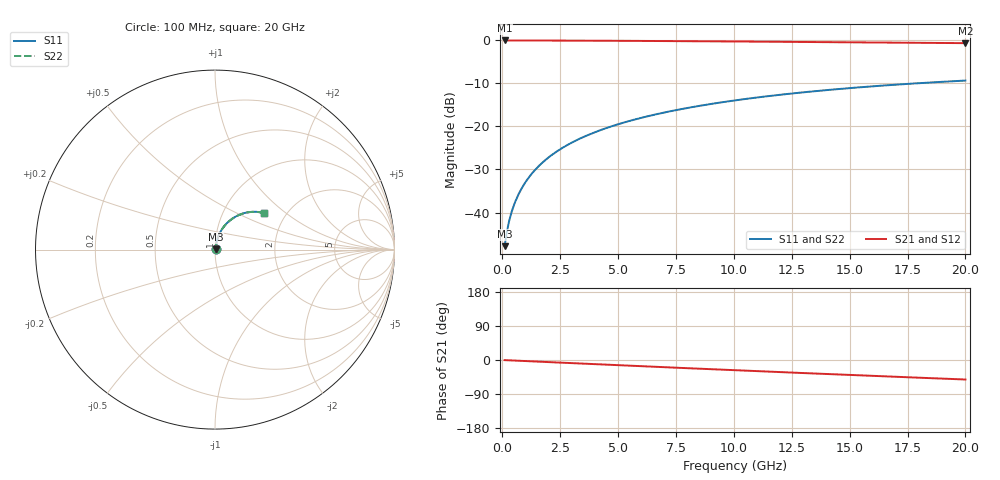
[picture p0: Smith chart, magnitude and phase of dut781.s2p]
! Touchstone file exported from HFSS 2026.1.0
!  File:  C:/ffzhzh/LocalFiles/Ansys_Project_Files/temp_train_TMRDL_781_1783155765_18472.aedt
!  Generated:  05:04:07 PM Jul  4, 2026
!  Design:  TMRDL
!  Project:  temp_train_TMRDL_781_1783155765_18472
! Variables:
!  h_bsmrdl = 2um
!  h_ox = 20um
!  h_rdl = 5um
!  h_sub = 80um
!  h_tmrdl = 3.47um
!  h_tsv = 80um
!  h_via = 3um
!  l_bsmrdl = 300um
!  l_sub = 1225.56um
!  l_tmrdl = 825.56um
!  m_sub = 200um
!  pitch = 49.2um
!  r_tsv = 6um
!  s_tmrdl = 10um
!  w_bsmrdl = 18um
!  w_sub = 500um
!  w_tmrdl = 29.51um
!  x_tsv_center1 = 840.315um
!  x_tsv_center2 = 1158.315um
!  x_tsv_center3 = 2013.385um
!  x_tsv_center4 = 2331.385um
!  x_tsv_center5 = 3186.455um
!  x_tsv_center6 = 3504.455um
# GHz S MA R 50.000000
! Terminal data exported
! Port[1] = TM_RDL1_1_T1
! Port[2] = TM_RDL1_1_T2
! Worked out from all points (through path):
!   200 points, 100 MHz to 20 GHz, reference 50 ohm
!   highest |S21| = -0.03 dB at 100 MHz (marker M1); lowest = -0.7 dB at 20 GHz (marker M2)
!   group delay of S21, straight-line fit = 7.15 ps
!   lowest |S11| = -47.8 dB at 100 MHz (marker M3), VSWR 1.01, Z = 50.3 + j0.257 ohm
!   |S11| at or under -10 dB: start of sweep to 17.85 GHz
!   |S22| runs from -47.8 to -9.3 dB; largest |S21 - S12| = 4.9e-15
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0.1  0.004067 38.9  0.9968 -0.3  0.9968 -0.3  0.004067 38.9
! Gamma 0 0 0 0
! Port Impedance 50 0 50 0
0.2  0.00603 54.8  0.9966 -0.6  0.9966 -0.6  0.00603 54.8
0.3  0.008078 62.0  0.9963 -0.9  0.9963 -0.9  0.008078 62.0
0.4  0.01011 66.3  0.9961 -1.1  0.9961 -1.1  0.01011 66.3
0.5  0.01214 69.2  0.9959 -1.4  0.9959 -1.4  0.01214 69.2
0.6  0.01418 71.4  0.9958 -1.7  0.9958 -1.7  0.01418 71.4
0.8  0.01831 74.3  0.9956 -2.2  0.9956 -2.2  0.01831 74.3
1.1  0.0246 76.7  0.9953 -3.1  0.9953 -3.1  0.0246 76.6
1.3  0.02882 77.5  0.9951 -3.6  0.9951 -3.6  0.02882 77.5
1.6  0.03519 78.1  0.9948 -4.4  0.9948 -4.4  0.03519 78.1
2.1  0.04581 78.2  0.9941 -5.8  0.9941 -5.8  0.04581 78.2
2.7  0.05851 77.6  0.9932 -7.4  0.9932 -7.4  0.05851 77.5
3.5  0.07527 76.1  0.9916 -9.6  0.9916 -9.6  0.07527 76.1
4.2  0.08973 74.6  0.9899 -11.5  0.9899 -11.5  0.08974 74.6
5  0.106 72.8  0.9878 -13.7  0.9878 -13.7  0.106 72.7
5.9  0.1239 70.6  0.9851 -16.1  0.9851 -16.1  0.1239 70.6
6.8  0.1414 68.4  0.9821 -18.5  0.9821 -18.5  0.1414 68.3
8.3  0.1695 64.7  0.9767 -22.4  0.9767 -22.4  0.1695 64.6
10.1  0.2015 60.2  0.9697 -27.1  0.9697 -27.1  0.2016 60.1
13.4  0.2552 52.2  0.9558 -35.4  0.9558 -35.4  0.2552 52.1
16.7  0.3018 44.3  0.9414 -43.6  0.9414 -43.6  0.3018 44.2
20  0.341 36.6  0.9276 -51.5  0.9276 -51.5  0.341 36.5
